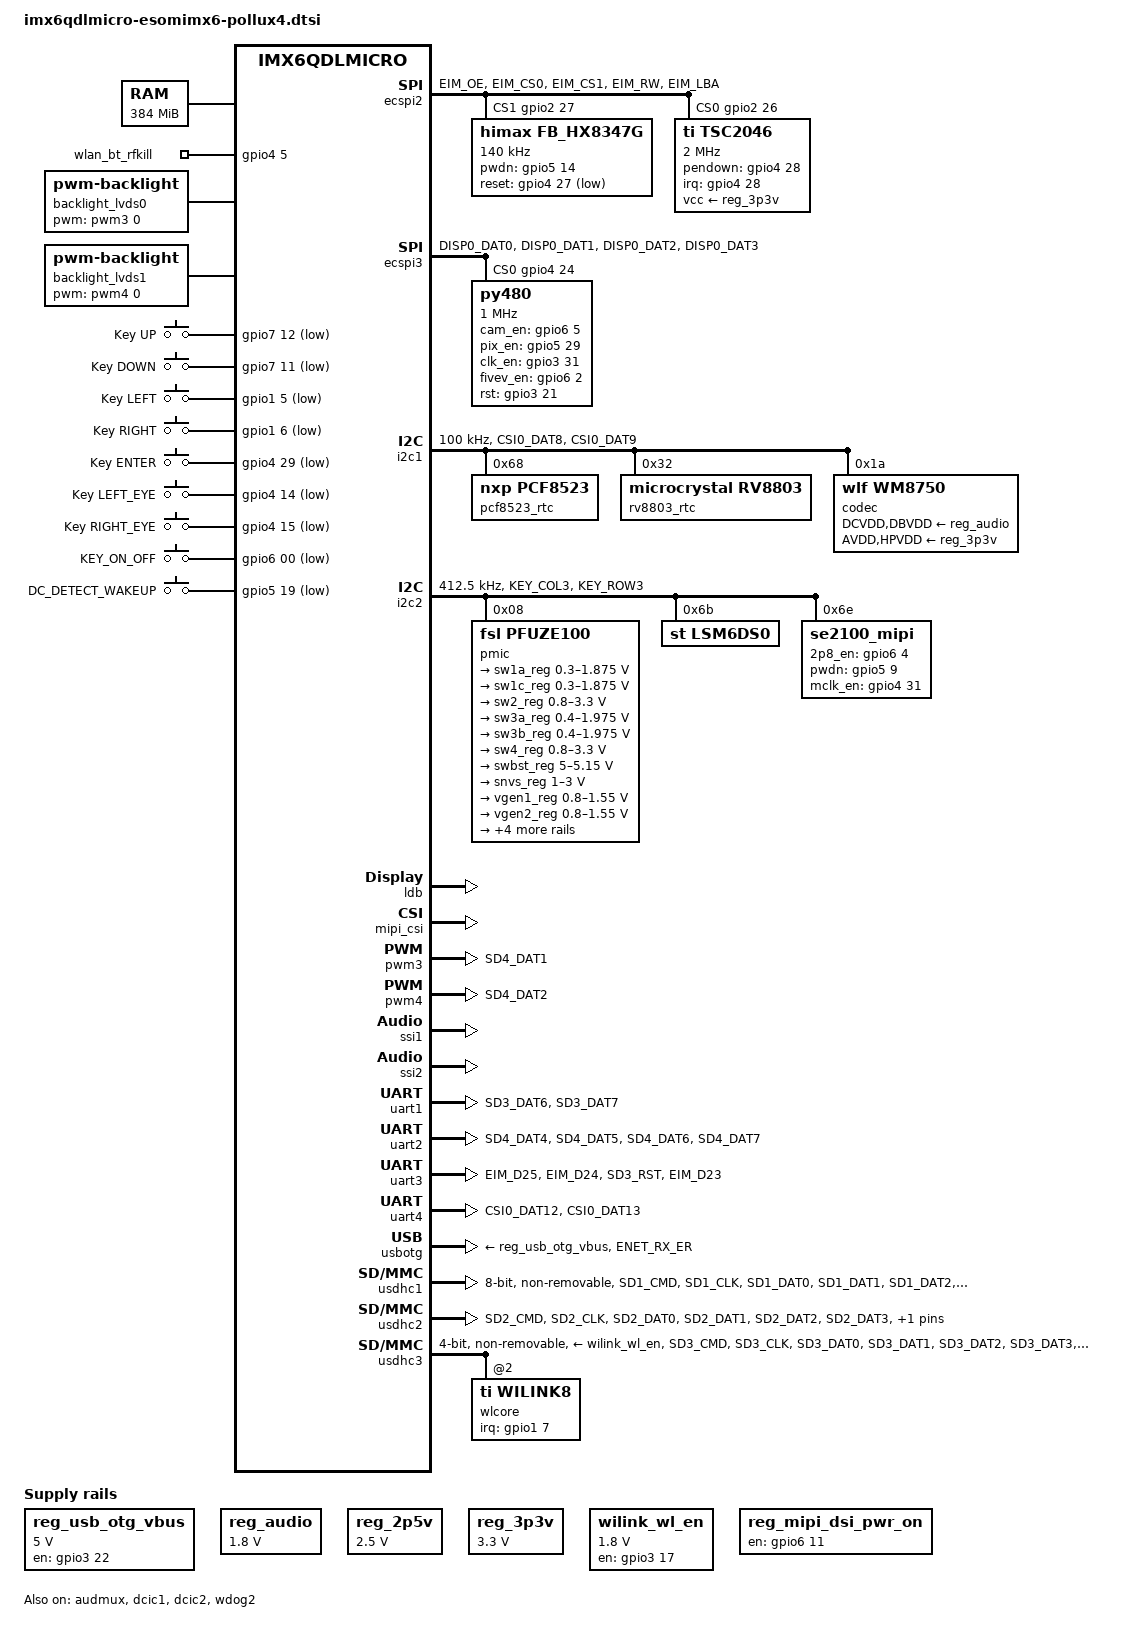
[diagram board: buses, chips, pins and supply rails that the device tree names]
/*
 * Copyright 2012 Freescale Semiconductor, Inc.
 * Copyright 2011 Linaro Ltd.
 *
 * The code contained herein is licensed under the GNU General Public
 * License. You may obtain a copy of the GNU General Public License
 * Version 2 or later at the following locations:
 *
 * http://www.opensource.org/licenses/gpl-license.html
 * http://www.gnu.org/copyleft/gpl.html
 */

#include <dt-bindings/gpio/gpio.h>
#include <dt-bindings/input/input.h>

/ {
	aliases {
		mxcfb0 = &mxcfb1;
		mxcfb1 = &mxcfb2;
		mxcfb2 = &mxcfb3;
		mxcfb3 = &mxcfb4;
	};

	hannstar_cabc {
		compatible = "hannstar,cabc";
		lvds0 {
			gpios = <&gpio6 15 GPIO_ACTIVE_HIGH>;
		};
		lvds1 {
			gpios = <&gpio6 16 GPIO_ACTIVE_HIGH>;
		};
	};

	chosen {
		stdout-path = &uart1;
	};
	memory {
		reg = <0x10000000 0x18000000 >;
	};

	regulators {
		compatible = "simple-bus";
		#address-cells = <1>;
		#size-cells = <0>;

		reg_usb_otg_vbus: regulator@0 {
			compatible = "regulator-fixed";
			reg = <0>;
			regulator-name = "usb_otg_vbus";
			regulator-min-microvolt = <5000000>;
			regulator-max-microvolt = <5000000>;
			gpio = <&gpio3 22 0>;
			enable-active-high;
		};

/*		reg_usb_h1_vbus: regulator@1 {
			compatible = "regulator-fixed";
			reg = <1>;
			regulator-name = "usb_h1_vbus";
			regulator-min-microvolt = <5000000>;
			regulator-max-microvolt = <5000000>;
			gpio = <&gpio3 31 0>;
			enable-active-high;
			vin-supply = <&swbst_reg>;
		};
*/
                reg_audio: 1p8v {
                        compatible = "regulator-fixed";
                        regulator-name = "1P8V";
                        regulator-min-microvolt = <1800000>;
                        regulator-max-microvolt = <1800000>;
                        regulator-always-on;
                };

		reg_2p5v: regulator@2 {
			compatible = "regulator-fixed";
			reg = <2>;
			regulator-name = "2P5V";
			regulator-min-microvolt = <2500000>;
			regulator-max-microvolt = <2500000>;
			regulator-always-on;
		};

	/*	reg_pcie: regulator@3 {
			compatible = "regulator-fixed";
			reg = <3>;
			pinctrl-names = "default";
			pinctrl-0 = <&pinctrl_pcie_reg>;
			regulator-name = "MPCIE_3V3";
			regulator-min-microvolt = <3300000>;
			regulator-max-microvolt = <3300000>;
			gpio = <&gpio4 26 0>;
			regulator-always-on;
			enable-active-high;
		};
	*/
		reg_3p3v: regulator@4 {
			compatible = "regulator-fixed";
			reg = <4>;
			regulator-name = "3P3V";
			regulator-min-microvolt = <3300000>;
			regulator-max-microvolt = <3300000>;
			regulator-always-on;
		};

		wilink_wl_en: regulator@5 {
			compatible = "regulator-fixed";
			reg = <5>;
			regulator-name = "wilink_wl_en";
			regulator-min-microvolt = <1800000>;
			regulator-max-microvolt = <1800000>;
			gpio = <&gpio3 17  0>; /* WIFI ENABLE GPIO */
			startup-delay-us = <70000>;
			output_high;
			enable-active-high;
		};

		reg_mipi_dsi_pwr_on: mipi_dsi_pwr_on {
			compatible = "regulator-fixed";
			regulator-name = "mipi_dsi_pwr_on";
			gpio = <&gpio6 11 0>;
			enable-active-high;
		};

	};

#if 0
	  bt_codec: bt-codec {
		compatible = "linux,bt-sco";
	  };

	  sound-bt {
	  	compatible = "fsl,imx-audio-btlsr";
	  	model = "fsl,imx-audio-btlsr";

	  	ssi-controller = <&ssi2>;
	  	bt-controller = <&bt_codec>;
	  	mux-int-port = <2>;
	  	mux-ext-port = <5>;
	  };


	sound-hdmi {
		compatible = "fsl,imx6q-audio-hdmi",
			     "fsl,imx-audio-hdmi";
		model = "imx-audio-hdmi";
		hdmi-controller = <&hdmi_audio>;
	};
#endif
	
#if 0
	wlan {
		compatible = "ti,wilink8";
		interrupt-parent = <&gpio1>;
		interrupts = <07 0x04>;
		clocks = <&refclock>;
		clock-names = "refclock";
		/* WiFi module enable GPIO; Required for proper fucntioning of WIFI down and up*/
		pwr-enable = <&gpio3 17 0>;

		refclock: refclock {
			compatible = "ti,wilink-clock";
			#clock-cells = <0>;
			clock-frequency = <38400000>;
		};
	};
#endif
	wlan_bt_rfkill {
		compatible = "net,rfkill-gpio";
		name = "wlan_bt_rfkill";
		type = <2>;     /* bluetooth */
		gpios = <&gpio4 5 0>; /* BT enable */
	};

	mxcfb1: fb@0 {
		compatible = "fsl,mxc_sdc_fb";
		disp_dev = "ldb";
		interface_pix_fmt = "RGB666";
		default_bpp = <16>;
		int_clk = <0>;
		late_init = <0>;
		status = "disabled";
	};

	mxcfb2: fb@1 {
		compatible = "fsl,mxc_sdc_fb";
		disp_dev = "hdmi";
		interface_pix_fmt = "RGB24";
		mode_str ="1920x1080M@60";
		default_bpp = <24>;
		int_clk = <0>;
		late_init = <0>;
		status = "disabled";
	};

	mxcfb3: fb@2 {
		compatible = "fsl,mxc_sdc_fb";
		disp_dev = "lcd";
		interface_pix_fmt = "RGB565";
		mode_str ="CLAA-WVGA";
		default_bpp = <16>;
		int_clk = <0>;
		late_init = <0>;
		status = "disabled";
	};

	mxcfb4: fb@3 {
		compatible = "fsl,mxc_sdc_fb";
		disp_dev = "mipi_dsi";
		interface_pix_fmt = "RGB24";
		mode_str ="AUO-320";
		default_bpp = <24>;
		int_clk = <0>;
		late_init = <0>;
		status = "disabled";
	};

#if 0
	mxcfb4: fb@3 {
		compatible = "fsl,mxc_sdc_fb";
		disp_dev = "ldb";
		interface_pix_fmt = "RGB666";
		default_bpp = <16>;
		int_clk = <0>;
		late_init = <0>;
		status = "disabled";
	};
#endif

#if 1
	backlight_lvds0 {
		compatible = "pwm-backlight";
		pwms = <&pwm3 0 5000000>;
		//brightness-levels = <0 63 95 127 159 191 223 255>;
		//default-brightness-level = <6>;
		brightness-levels = <0 2 5 7 10 12 15 17 20 22 25 28 30 33
				    35 38 40 43 45 48 51 53 56 58 61 63 66 
				    68 71 73 76 79 81 84 86 89 91 94 96 99 
				    102 104 107 109 112 114 117 119 122 124
				    127 130 132 135 137 140 142 145 147 150 
				    153 155 158 160 163 165 168 170 173 175 
				    178 181 183 186 188 191 193 196 198 201 
				    204 206 209 211 214 216 219 221 224 226 
				    229 232 234 237 239 242 244 247 249 252 255>;
		default-brightness-level = <90>;
	};
#endif

	backlight_lvds1 {
		compatible = "pwm-backlight";
		pwms = <&pwm4 0 366300>;
		brightness-levels = <0 2 5 7 10 12 15 17 20 22 25 28 30 33
				35 38 40 43 45 48 51 53 56 58 61 63 66
				68 71 73 76 79 81 84 86 89 91 94 96 99
				102 104 107 109 112 114 117 119 122 124
				127 130 132 135 137 140 142 145 147 150
				153 155 158 160 163 165 168 170 173 175
				178 181 183 186 188 191 193 196 198 201
				204 206 209 211 214 216 219 221 224 226
				229 232 234 237 239 242 244 247 249 252 255>;
		default-brightness-level = <0>;
	};

	v4l2_cap_0 {
		compatible = "fsl,imx6q-v4l2-capture";
		ipu_id = <0>;
		csi_id = <0>;
		mclk_source = <0>;
		status = "okay";
	};

	v4l2_cap_1 {
		compatible = "fsl,imx6q-v4l2-capture";
		ipu_id = <0>;
		csi_id = <1>;
		mclk_source = <0>;
		status = "disabled";
	};

	v4l2_out {
		compatible = "fsl,mxc_v4l2_output";
		status = "okay";
	};
/*
	mipi_dsi_reset: mipi-dsi-reset {
		compatible = "gpio-reset";
		reset-gpios = <&gpio2 27 GPIO_ACTIVE_LOW>;
		reset-delay-us = <50>;
		#reset-cells = <0>;
	};
*/
#if 1
	gpio-keys {
		compatible = "gpio-keys";
		#address-cells = <1>;
		#size-cells = <0>;
		pinctrl-names = "default";
		pinctrl-0 = <&pinctrl_keypad>;
		/*Removed autorepeat to enable long press of the keys without release event*/
		//autorepeat;
	
		key_up {
			label = "Key UP";
			linux,code = <30>;//'A'
			gpios = <&gpio7 12 1>;
			debounce-interval = <50>;
			// gpio-key,wakeup;
		};
		key_down {
			label = "Key DOWN";
			linux,code = <48>;//'B'
			gpios = <&gpio7 11 1>;
			debounce-interval = <50>;
			// gpio-key,wakeup;
		};
		key_left {
			label = "Key LEFT";
			linux,code = <46>;//'C'
			gpios = <&gpio1 5 1>;
			debounce-interval = <50>;
			// gpio-key,wakeup;
		};
		key_right {
			label = "Key RIGHT";
			linux,code = <32>;//'D'
			gpios = <&gpio1 6 1>;
			debounce-interval = <50>;
			// gpio-key,wakeup;
		};
		key_enter {
			label = "Key ENTER";
			linux,code = <18>;//'E'
			gpios = <&gpio4 29 1>;
			debounce-interval = <50>;
			// gpio-key,wakeup;
		};
		key_left_eye {
			label = "Key LEFT_EYE";
			linux,code = <38>;//'L'
			gpios = <&gpio4 14 1>;
			debounce-interval = <50>;
			// gpio-key,wakeup;
		};
		key_right_eye {
			label = "Key RIGHT_EYE";
			linux,code = <19>;//'R'
			gpios = <&gpio4 15 1>;
			debounce-interval = <50>;
			// gpio-key,wakeup;
		};
		key_on_off{
			label = "KEY_ON_OFF";
			linux,code = <24>;//'O'
			gpios = <&gpio6 00 1>;
			debounce-interval = <50>;
			// gpio-key,wakeup;
		};

		dc_detect_interrupt{
			label = "DC_DETECT_WAKEUP";
			gpios = <&gpio5 19 1>;
			linux,code = <50>;//'M'
			 gpio-key,wakeup;

		};
	};
#endif	
	sound {
                compatible = "fsl,imx6q-esomimx6-wm8750",
                              "fsl,imx-audio-wm8750";
		model = "wm8750-audio";
                ssi-controller = <&ssi1>;
                audio-codec = <&codec>;
                audio-routing =
                        "Ext Spk", "ROUT2",
                        "Ext Spk", "LOUT2";
                mux-int-port = <1>;
                mux-ext-port = <3>;
       };
};

&audmux {
	pinctrl-names = "default";
	pinctrl-0 = <&pinctrl_audmux>;
	status = "okay";
};

&cpu0 {
	arm-supply = <&sw1a_reg>;
	soc-supply = <&sw1c_reg>;
};

&clks {
	//fsl,ldb-di0-parent = <&clks IMX6QDL_CLK_PLL2_PFD0_352M>;
	fsl,ldb-di0-parent = <&clks IMX6QDL_CLK_PLL5_VIDEO_DIV>;
	//fsl,ldb-di1-parent = <&clks IMX6QDL_CLK_PLL2_PFD0_352M>;
	fsl,ldb-di1-parent = <&clks IMX6QDL_CLK_PLL5_VIDEO_DIV>;
};

#if 0
/* eSOMiMX6 does not have SPI NOR flash mounted */
&ecspi1 {
	fsl,spi-num-chipselects = <1>;
	cs-gpios = <&gpio3 19 0>;
	pinctrl-names = "default";
	pinctrl-0 = <&pinctrl_ecspi1>;
	status = "okay";

};
#endif

/* eSOMiMX6 supports two chip selects for ECSPI2; Since CSO is connected to SPI connector in ANKAA
   and CS1 is connected to GPIO header, properties has been defined as if only one chip select is
   supported */
&ecspi2 {
	fsl,spi-num-chipselects = <2>;
	cs-gpios = <&gpio2 26 0>,<&gpio2 27 0>;
	pinctrl-names = "default";
	pinctrl-0 = <&pinctrl_ecspi2>;
	status = "okay";
	
	/*himax hx8347 display*/
    	fb_hx8347g@1 {
		compatible = "himax,fb_hx8347g";
		reg = <1>;/* CS1 */
		spi-max-frequency = <140000>;
		pinctrl-names = "default";
  		pinctrl-0 = <&pinctrl_lcd>;
		buswidth = <16>;
                regwidth = <16>;
		//spi-cpol;
		//spi-cpha;
		pwdn-gpios = <&gpio5 14 0>;
		reset-gpios = <&gpio4 27 1>;
		status = "okay";
	};

	/* added for touchscreen on SPI2 */
      	tsc2046@0 {
        	compatible = "ti,tsc2046";
  		pinctrl-names = "default";
  		pinctrl-0 = <&pinctrl_touch>;
              	spi-max-frequency = <2000000>;//1500000
		vcc-supply = <&reg_3p3v>; 
		
            	reg = <0>; /* CS0 */
		interrupt-parent = <&gpio4>;
		interrupts = <28 IRQ_TYPE_LEVEL_HIGH>;
	        pendown-gpio = <&gpio4 28 0>;
		//ti,keep-vref-on;//without working
		/* driver defaults */
#if 1
		ti,x-min = /bits/ 16 <0>;
		ti,y-min = /bits/ 16 <0>;
		ti,x-max = /bits/ 16 <4095>;
		ti,y-max = /bits/ 16 <3930>;
		//ti,vref-delay-usecs = /bits/ 16 <100>;
		ti,pressure-min = /bits/ 16 <0>;
		ti,pressure-max = /bits/ 16 <65535>;
		ti,x-plate-ohms = /bits/ 16 <400>;
		ti,debounce-max = /bits/ 16 <30>;//2
		ti,debounce-tol = /bits/ 16 <10>;//4 
		ti,debounce-rep = /bits/ 16 <1>;  

#endif

#if 0
		ti,x-min = /bits/ 16 <50>;
		ti,x-max = /bits/ 16 <3830>;
		ti,y-min = /bits/ 16 <90>;
		ti,y-max = /bits/ 16 <3930>;
		ti,vref-delay-usecs = /bits/ 16 <450>;
		ti,x-plate-ohms = /bits/ 16 <450>;
		ti,y-plate-ohms = /bits/ 16 <250>;
		ti,pressure-max = /bits/ 16 <15000>;
	//	ti,debounce-rep = /bits/ 16 <0>;
	//	ti,debounce-tol = /bits/ 16 <65535>;
	//	ti,debounce-max = /bits/ 16 <1>;
		ti,debounce-max = /bits/ 16 <30>;
		ti,debounce-tol = /bits/ 16 <10>; 
		ti,debounce-rep = /bits/ 16 <1>;  

#endif

		//linux,wakeup;
		ti,swap-xy;
		
		status = "okay";

    	};	
};

#if 1
&ecspi3 {
	fsl,spi-num-chipselects = <1>;
	cs-gpios = <&gpio4 24 0>;
	pinctrl-names = "default";
	pinctrl-0 = <&pinctrl_ecspi3>;
	status = "okay";
	
	/*python 480 parallel camera*/
	py480: py480@0 {
		compatible = "py480";
		reg = <0>;
		spi-max-frequency = <1000000>;
		pinctrl-names = "default";
		pinctrl-0 = <&pinctrl_py480_csi1>;
		clocks = <&clks 201>;
		clock-names = "csi_mclk";
		cam_en-gpios = <&gpio6 5 0>;
		pix_en-gpios = <&gpio5 29 0>;
		clk_en-gpios = <&gpio3 31 0>;
		fivev_en-gpios = <&gpio6 2 0>;
		buswidth = <26>;
                regwidth = <16>;
		rst-gpios = <&gpio3 21 0>;
		ipu_id = <1>;
		csi_id = <1>;
		mclk = <68000000>;
		mclk_source = <0>;
		status = "okay";
	};
	
};
#endif

&fec {
	pinctrl-names = "default";
	pinctrl-0 = <&pinctrl_enet>;
	phy-mode = "rgmii";
	phy-reset-gpios = <&gpio1 27 0>;
	fsl,magic-packet;
	status = "disabled";
};

/* In ANKAA, CAN1 signals are connected to GPIO header */
#if 0
&can1 {
	pinctrl-names = "default";
	pinctrl-0 = <&pinctrl_can1>;
	status = "okay";
};
#endif

#if 0
&can2 {
	pinctrl-names = "default";
	pinctrl-0 = <&pinctrl_can2>;
	status = "okay";
};
#endif

&gpc {
	fsl,ldo-bypass = <1>;
	fsl,wdog-reset = <2>;
};

&dcic1 {
	dcic_id = <0>;
	dcic_mux = "dcic-hdmi";
	status = "okay";
};

&dcic2 {
	dcic_id = <1>;
	dcic_mux = "dcic-lvds1";
	status = "okay";
};

&hdmi_audio {
	status = "disabled";
};

&hdmi_cec {
	pinctrl-names = "default";
	pinctrl-0 = <&pinctrl_hdmi_cec>;
	status = "disabled";
};

&hdmi_core {
	ipu_id = <0>;
	disp_id = <0>;
	status = "disabled";
};

&hdmi_video {
	fsl,phy_reg_vlev = <0x0294>;
	fsl,phy_reg_cksymtx = <0x800d>;
	status = "disabled";
};

&i2c1 {
	clock-frequency = <100000>;
	pinctrl-names = "default";
	pinctrl-0 = <&pinctrl_i2c1>;
	status = "okay";
	
	pcf8523_rtc@68 {
		compatible = "nxp,pcf8523";
		reg = <0x68>;
		//wakeup-source;
		status = "okay";
	};

	// RTC for Rev-B boards
	rv8803_rtc@32 {
		compatible = "microcrystal,rv8803";
		reg = <0x32>;
		status = "okay";
	};

	codec: wm8750@1a {
		compatible = "wlf,wm8750";
                reg = <0x1a>;
                clocks = <&clks 201>;
                DCVDD-supply = <&reg_audio>;
                DBVDD-supply = <&reg_audio>;
                AVDD-supply = <&reg_3p3v>;
                HPVDD-supply = <&reg_3p3v>;
		status = "okay";
	};
};

&i2c2 {
	clock-frequency = <412500>;
	pinctrl-names = "default";
	pinctrl-0 = <&pinctrl_i2c2>;
	status = "okay";

	

	pmic: pfuze100@08 {
		compatible = "fsl,pfuze100";
		reg = <0x08>;

		regulators {
			sw1a_reg: sw1ab {
				regulator-min-microvolt = <300000>;
				regulator-max-microvolt = <1875000>;
				regulator-boot-on;
				regulator-always-on;
				regulator-ramp-delay = <6250>;
			};

			sw1c_reg: sw1c {
				regulator-min-microvolt = <300000>;
				regulator-max-microvolt = <1875000>;
				regulator-boot-on;
				regulator-always-on;
				regulator-ramp-delay = <6250>;
			};

			sw2_reg: sw2 {
				regulator-min-microvolt = <800000>;
				regulator-max-microvolt = <3300000>;
				regulator-boot-on;
				regulator-always-on;
			};

			sw3a_reg: sw3a {
				regulator-min-microvolt = <400000>;
				regulator-max-microvolt = <1975000>;
				regulator-boot-on;
				regulator-always-on;
			};

			sw3b_reg: sw3b {
				regulator-min-microvolt = <400000>;
				regulator-max-microvolt = <1975000>;
				regulator-boot-on;
				regulator-always-on;
			};

			sw4_reg: sw4 {
				regulator-min-microvolt = <800000>;
				regulator-max-microvolt = <3300000>;
                                regulator-boot-on;
                                regulator-always-on;
			};

			swbst_reg: swbst {
				regulator-min-microvolt = <5000000>;
				regulator-max-microvolt = <5150000>;
			};

			snvs_reg: vsnvs {
				regulator-min-microvolt = <1000000>;
				regulator-max-microvolt = <3000000>;
				regulator-boot-on;
				regulator-always-on;
			};

			vref_reg: vrefddr {
				regulator-boot-on;
				regulator-always-on;
			};

			vgen1_reg: vgen1 {
				regulator-min-microvolt = <800000>;
				regulator-max-microvolt = <1550000>;
			};

			vgen2_reg: vgen2 {
				regulator-min-microvolt = <800000>;
				regulator-max-microvolt = <1550000>;
			};

			vgen3_reg: vgen3 {
				regulator-min-microvolt = <2500000>;
				regulator-max-microvolt = <2500000>;
				regulator-boot-on;
				regulator-always-on;
			};

			vgen4_reg: vgen4 {
				regulator-min-microvolt = <1800000>;
				regulator-max-microvolt = <1800000>;
				regulator-boot-on;
				regulator-always-on;
			};

			vgen5_reg: vgen5 {
                               regulator-min-microvolt = <2500000>;
                               regulator-max-microvolt = <2500000>;
                               regulator-boot-on;
                               regulator-always-on;
			};

			vgen6_reg: vgen6 {
				regulator-min-microvolt = <1800000>;
				regulator-max-microvolt = <3300000>;
                                regulator-boot-on;
                                regulator-always-on;
			};
		};
	};

	lsm6ds0@0x6B {
		compatible = "st,lsm6ds0";
		reg = <0x6B>;
		rot-matrix = /bits/ 16 <(1) (0) (0)
					(0) (1) (0)
					(0) (0) (1)>;
		g-poll-interval = <100>;
		g-min-interval = <2>;
		g-fs-range = <0>;
		x-poll-interval = <100>;
		x-min-interval = <1>;
		x-fs-range = <0>;
		aa-filter-bw = <0>;
	};

	se2100_mipi: se2100_mipi@6E {
                compatible = "se2100_mipi";
		reg = <0x6E>;
                clocks = <&clks 201>;
                clock-names = "csi_mclk";
		pinctrl-names ="default";
		pinctrl-0 =<&pinctrl_barcode>;
		2p8_en-gpios = <&gpio6 4 0>;
		pwdn-gpios = <&gpio5 9 0>;
		mclk_en-gpios= <&gpio4 31 0>;
                ipu_id = <0>;
                csi_id = <0>;
                vc = <0>;
                mclk = <24000000>;
                mclk_source = <0>;
                status="okay";
        };
};

#if 0
&i2c3 {
	clock-frequency = <100000>;
	pinctrl-names = "default";
	pinctrl-0 = <&pinctrl_i2c3>;
	status = "okay";

	hdmi: edid@50 {
		compatible = "fsl,imx6-hdmi-i2c";
		reg = <0x50>;
	};


};
#endif

&iomuxc {
	pinctrl-names = "default";
	pinctrl-0 = <&pinctrl_hog>;

	imx6qdl-sabresd {
		pinctrl_hog: hoggrp {
			fsl,pins = <
				MX6QDL_PAD_GPIO_0__CCM_CLKO1 0x80000000 /* Audio codec clock */
				MX6QDL_PAD_GPIO_8__XTALOSC_REF_CLK_32K 0x0001B0B0 /* WiFi clock */
				MX6QDL_PAD_NANDF_CS3__GPIO6_IO16 0x80000000 /* eMMC nRST; Not yet used */
				MX6QDL_PAD_EIM_D26__GPIO3_IO26 0x80000000 /* emergency shutdown */
				MX6QDL_PAD_ENET_RXD0__GPIO1_IO27 0x80000000 /* RGMII nRST; Not yet used */
				MX6QDL_PAD_ENET_TXD1__GPIO1_IO29 0x80000000 /* Indication LED2 */
				MX6QDL_PAD_EIM_D29__GPIO3_IO29 0x80000000 /* BT_MOD_WU, need to know the purpose */
				/* GPIO header in ANKAA board */
				/* MIPI DSI lines are not clocked since they cannot be multiplexed */
				/* I2C3 lines are not muxed here as GPIO header since they are connected to HDMI display */
				MX6QDL_PAD_GPIO_9__GPIO1_IO09 0x80000000
				MX6QDL_PAD_GPIO_1__GPIO1_IO01 0x80000000
			//	MX6QDL_PAD_EIM_LBA__GPIO2_IO27 0x80000000
				MX6QDL_PAD_DISP0_DAT22__GPIO5_IO16 0x80000000
				MX6QDL_PAD_DI0_DISP_CLK__GPIO4_IO16 0x80000000 /* Need to know if this will work? */
				MX6QDL_PAD_DISP0_DAT9__GPIO4_IO30 0x80000000
				MX6QDL_PAD_DISP0_DAT23__GPIO5_IO17 0x80000000
				MX6QDL_PAD_EIM_D20__GPIO3_IO20 0x80000000
				MX6QDL_PAD_SD4_CLK__GPIO7_IO10 0x80000000
				MX6QDL_PAD_SD4_CMD__GPIO7_IO09 0x80000000
				MX6QDL_PAD_SD4_DAT0__GPIO2_IO08 0x80000000
				MX6QDL_PAD_SD4_DAT3__GPIO2_IO11 0x80000000
				MX6QDL_PAD_EIM_DA14__GPIO3_IO14 0x80000000
				MX6QDL_PAD_EIM_DA15__EIM_AD15 0x80000000
				MX6QDL_PAD_DI0_PIN4__GPIO4_IO20 0x80000000
				MX6QDL_PAD_DISP0_DAT18__GPIO5_IO12 0x80000000
				MX6QDL_PAD_DI0_PIN2__GPIO4_IO18 0x80000000
				MX6QDL_PAD_DI0_PIN3__GPIO4_IO19 0x80000000
				MX6QDL_PAD_DI0_PIN15__GPIO4_IO17 0x80000000
				MX6QDL_PAD_KEY_ROW2__GPIO4_IO11 0x80000000
				MX6QDL_PAD_KEY_COL2__GPIO4_IO10 0x80000000
				//MX6QDL_PAD_GPIO_16__GPIO7_IO11 0x80000000
				//MX6QDL_PAD_GPIO_17__GPIO7_IO12 0x80000000
				MX6QDL_PAD_EIM_DA13__GPIO3_IO13 0x80000000
				/* End of GPIO headers */

			>;
		};

		pinctrl_audmux: audmuxgrp {
			fsl,pins = <
				MX6QDL_PAD_CSI0_DAT7__AUD3_RXD		0x130b0
				MX6QDL_PAD_CSI0_DAT4__AUD3_TXC		0x130b0
				MX6QDL_PAD_CSI0_DAT5__AUD3_TXD		0x110b0
				MX6QDL_PAD_CSI0_DAT6__AUD3_TXFS		0x130b0
			//	MX6QDL_PAD_EIM_DA3__GPIO3_IO03    0x0001B0B0
				/*Pin mux for BT Codec*/
				MX6QDL_PAD_KEY_COL0__AUD5_TXC     0x130b0
				MX6QDL_PAD_KEY_COL1__AUD5_TXFS    0x130b0
				MX6QDL_PAD_KEY_ROW0__AUD5_TXD     0x130b0
				MX6QDL_PAD_KEY_ROW1__AUD5_RXD     0x130b0
			>;
		};

		pinctrl_wdog1: wdog {
			fsl,pins = <
			//	MX6QDL_PAD_EIM_DA5__GPIO3_IO05          0x0001B0B0
			>;
		};

		pinctrl_ecspi1: ecspi1grp {
			fsl,pins = <
				MX6QDL_PAD_EIM_D17__ECSPI1_MISO		0x100b1
				MX6QDL_PAD_EIM_D18__ECSPI1_MOSI		0x100b1
				MX6QDL_PAD_EIM_D16__ECSPI1_SCLK		0x100b1
			>;
		};

		pinctrl_ecspi2: ecspi2grp {
			fsl,pins = <
				MX6QDL_PAD_EIM_OE__ECSPI2_MISO		0x100b1
				MX6QDL_PAD_EIM_CS0__ECSPI2_SCLK		0x100b1
				MX6QDL_PAD_EIM_CS1__ECSPI2_MOSI		0x100b1
				MX6QDL_PAD_EIM_RW__GPIO2_IO26           0x000b1
				MX6QDL_PAD_EIM_LBA__GPIO2_IO27           0x000b1
			>;
		};

		pinctrl_ecspi3: ecspi3grp {
			fsl,pins = <
				MX6QDL_PAD_DISP0_DAT0__ECSPI3_SCLK 	0x100b1
				MX6QDL_PAD_DISP0_DAT1__ECSPI3_MOSI 	0x100b1
				MX6QDL_PAD_DISP0_DAT2__ECSPI3_MISO 	0x100b1
				MX6QDL_PAD_DISP0_DAT3__GPIO4_IO24	0x100b1
			>;
		};

		pinctrl_can1: can1grp {
			fsl,pins = <
				MX6QDL_PAD_KEY_ROW2__FLEXCAN1_RX	0x80000000
				MX6QDL_PAD_KEY_COL2__FLEXCAN1_TX	0x80000000
			>;
		};

		pinctrl_can2: can2grp {
			fsl,pins = <
				MX6QDL_PAD_KEY_COL4__FLEXCAN2_TX   	0x80000000
				MX6QDL_PAD_KEY_ROW4__FLEXCAN2_RX 	0x80000000
 			>;
 		};


		pinctrl_i2c2_egalax_int: egalax_i2c2_intgrp {
			fsl,pins = <
				MX6QDL_PAD_NANDF_ALE__GPIO6_IO08 0x80000000
			>;
		};

		pinctrl_i2c3_egalax_int: egalax_i2c3_intgrp {
			fsl,pins = <
				MX6QDL_PAD_NANDF_CLE__GPIO6_IO07 0x80000000
			>;
		};

		pinctrl_enet: enetgrp {
			fsl,pins = <
				MX6QDL_PAD_ENET_MDIO__ENET_MDIO		0x1b0b0
				MX6QDL_PAD_ENET_MDC__ENET_MDC		0x1b0b0
				MX6QDL_PAD_RGMII_TXC__RGMII_TXC		0x1b0b0
				MX6QDL_PAD_RGMII_TD0__RGMII_TD0		0x1b0b0
				MX6QDL_PAD_RGMII_TD1__RGMII_TD1		0x1b0b0
				MX6QDL_PAD_RGMII_TD2__RGMII_TD2		0x1b0b0
				MX6QDL_PAD_RGMII_TD3__RGMII_TD3		0x1b0b0
				MX6QDL_PAD_RGMII_TX_CTL__RGMII_TX_CTL	0x1b0b0
				MX6QDL_PAD_ENET_REF_CLK__ENET_TX_CLK	0x1b0b0
				MX6QDL_PAD_RGMII_RXC__RGMII_RXC		0x1b0b0
				MX6QDL_PAD_RGMII_RD0__RGMII_RD0		0x1b0b0
				MX6QDL_PAD_RGMII_RD1__RGMII_RD1		0x1b0b0
				MX6QDL_PAD_RGMII_RD2__RGMII_RD2		0x1b0b0
				MX6QDL_PAD_RGMII_RD3__RGMII_RD3		0x1b0b0
				MX6QDL_PAD_RGMII_RX_CTL__RGMII_RX_CTL	0x1b0b0
				MX6QDL_PAD_GPIO_16__ENET_REF_CLK	0x4001b0a8
			>;
		};

		pinctrl_hdmi_cec: hdmicecgrp {
			fsl,pins = <
				MX6QDL_PAD_KEY_ROW2__HDMI_TX_CEC_LINE 0x1f8b0
			>;
		};

		pinctrl_hdmi_hdcp: hdmihdcpgrp {
			fsl,pins = <
				MX6QDL_PAD_KEY_COL3__HDMI_TX_DDC_SCL 0x4001b8b1
				MX6QDL_PAD_KEY_ROW3__HDMI_TX_DDC_SDA 0x4001b8b1
			>;
		};

		pinctrl_i2c1: i2c1grp {
			fsl,pins = <
				MX6QDL_PAD_CSI0_DAT8__I2C1_SDA		0x4001b8b1
				MX6QDL_PAD_CSI0_DAT9__I2C1_SCL		0x4001b8b1
			>;
		};

		pinctrl_i2c2: i2c2grp {
			fsl,pins = <
				MX6QDL_PAD_KEY_COL3__I2C2_SCL		0x4001b8b1
				MX6QDL_PAD_KEY_ROW3__I2C2_SDA		0x4001b8b1
			 >;
		};

		pinctrl_i2c3: i2c3grp {
			fsl,pins = <
				MX6QDL_PAD_GPIO_5__I2C3_SCL  		0x4001b8b1
				MX6QDL_PAD_GPIO_6__I2C3_SDA		0x4001b8b1
			>;
		};

		pinctrl_ipu1: ipu1grp {
			fsl,pins = <
				MX6QDL_PAD_DI0_DISP_CLK__IPU1_DI0_DISP_CLK 0x10
				MX6QDL_PAD_DI0_PIN15__IPU1_DI0_PIN15       0x10
				MX6QDL_PAD_DI0_PIN2__IPU1_DI0_PIN02        0x10
				MX6QDL_PAD_DI0_PIN3__IPU1_DI0_PIN03        0x10
				MX6QDL_PAD_DI0_PIN4__IPU1_DI0_PIN04        0x80000000
				MX6QDL_PAD_DISP0_DAT0__IPU1_DISP0_DATA00   0x10
				MX6QDL_PAD_DISP0_DAT1__IPU1_DISP0_DATA01   0x10
				MX6QDL_PAD_DISP0_DAT2__IPU1_DISP0_DATA02   0x10
				MX6QDL_PAD_DISP0_DAT3__IPU1_DISP0_DATA03   0x10
				MX6QDL_PAD_DISP0_DAT4__IPU1_DISP0_DATA04   0x10
				MX6QDL_PAD_DISP0_DAT5__IPU1_DISP0_DATA05   0x10
				MX6QDL_PAD_DISP0_DAT6__IPU1_DISP0_DATA06   0x10
				MX6QDL_PAD_DISP0_DAT7__IPU1_DISP0_DATA07   0x10
				MX6QDL_PAD_DISP0_DAT8__IPU1_DISP0_DATA08   0x10
				MX6QDL_PAD_DISP0_DAT9__IPU1_DISP0_DATA09   0x10
				MX6QDL_PAD_DISP0_DAT10__IPU1_DISP0_DATA10  0x10
				MX6QDL_PAD_DISP0_DAT11__IPU1_DISP0_DATA11  0x10
				MX6QDL_PAD_DISP0_DAT12__IPU1_DISP0_DATA12  0x10
				MX6QDL_PAD_DISP0_DAT13__IPU1_DISP0_DATA13  0x10
				MX6QDL_PAD_DISP0_DAT14__IPU1_DISP0_DATA14  0x10
				MX6QDL_PAD_DISP0_DAT15__IPU1_DISP0_DATA15  0x10
				MX6QDL_PAD_DISP0_DAT16__IPU1_DISP0_DATA16  0x10
				MX6QDL_PAD_DISP0_DAT18__IPU1_DISP0_DATA18  0x10
				MX6QDL_PAD_DISP0_DAT19__IPU1_DISP0_DATA19  0x10
				MX6QDL_PAD_DISP0_DAT20__IPU1_DISP0_DATA20  0x10
				MX6QDL_PAD_DISP0_DAT21__IPU1_DISP0_DATA21  0x10
				MX6QDL_PAD_DISP0_DAT22__IPU1_DISP0_DATA22  0x10
				MX6QDL_PAD_DISP0_DAT23__IPU1_DISP0_DATA23  0x10
			>;
		};

		pinctrl_ipu1_2: ipu1grp-2 { /* parallel camera */
			fsl,pins = <
                              //  MX6QDL_PAD_EIM_DA4__GPIO3_IO04             0x0001B0B0 /*CAM1_STROBE*/
				MX6QDL_PAD_CSI0_DAT10__IPU1_CSI0_DATA10    0x0001B0B0
				MX6QDL_PAD_CSI0_DAT11__IPU1_CSI0_DATA11    0x0001B0B0
				MX6QDL_PAD_CSI0_DAT12__IPU1_CSI0_DATA12    0x0001B0B0
				MX6QDL_PAD_CSI0_DAT13__IPU1_CSI0_DATA13    0x0001B0B0
				MX6QDL_PAD_CSI0_DAT14__IPU1_CSI0_DATA14    0x0001B0B0
				MX6QDL_PAD_CSI0_DAT15__IPU1_CSI0_DATA15    0x0001B0B0
				MX6QDL_PAD_CSI0_DAT16__IPU1_CSI0_DATA16    0x0001B0B0
				MX6QDL_PAD_CSI0_DAT17__IPU1_CSI0_DATA17    0x0001B0B0
				MX6QDL_PAD_CSI0_DAT18__IPU1_CSI0_DATA18    0x0001B0B0
				MX6QDL_PAD_CSI0_DAT19__IPU1_CSI0_DATA19    0x0001B0B0
				MX6QDL_PAD_CSI0_DATA_EN__IPU1_CSI0_DATA_EN 0x0001B0B0
				MX6QDL_PAD_CSI0_PIXCLK__IPU1_CSI0_PIXCLK   0x0001B0B0
				MX6QDL_PAD_CSI0_MCLK__IPU1_CSI0_HSYNC      0x0001B0B0
				MX6QDL_PAD_CSI0_VSYNC__IPU1_CSI0_VSYNC     0x0001B0B0
			>;
		};

		    pinctrl_py480_csi1: py480_csi1 { /* parallel camera 1*/  
			      fsl,pins = <

				   MX6QDL_PAD_EIM_D21__GPIO3_IO21          0x0001B0B0  /*rst-pins*/
				   MX6QDL_PAD_EIM_D31__GPIO3_IO31	   0x0001B0B0  /*clk_en-gpios*/
                                   MX6QDL_PAD_CSI0_DAT19__GPIO6_IO05       0x0001B0B0  /*cam_en-gpios regulator*/
                                   MX6QDL_PAD_CSI0_DAT11__GPIO5_IO29       0x0001B0B0  /*pix_en-gpios*/				
							     
				   MX6QDL_PAD_EIM_A16__IPU2_CSI1_PIXCLK    0x0001B0B0  
				   MX6QDL_PAD_EIM_DA11__IPU2_CSI1_HSYNC    0x0001B0B0 
				   MX6QDL_PAD_EIM_DA12__IPU2_CSI1_VSYNC    0x0001B0B0  
			         //  MX6QDL_PAD_EIM_DA10__IPU2_CSI1_DATA_EN  0x0001B0B0 

				   MX6QDL_PAD_EIM_A24__IPU2_CSI1_DATA19    0x0001B0B0  
				   MX6QDL_PAD_EIM_A23__IPU2_CSI1_DATA18    0x0001B0B0 
				   MX6QDL_PAD_EIM_A22__IPU2_CSI1_DATA17    0x0001B0B0 
				   MX6QDL_PAD_EIM_A21__IPU2_CSI1_DATA16    0x0001B0B0  
				   MX6QDL_PAD_EIM_A20__IPU2_CSI1_DATA15    0x0001B0B0  
				   MX6QDL_PAD_EIM_A19__IPU2_CSI1_DATA14    0x0001B0B0 
				   MX6QDL_PAD_EIM_A18__IPU2_CSI1_DATA13    0x0001B0B0 
				   MX6QDL_PAD_EIM_A17__IPU2_CSI1_DATA12    0x0001B0B0 
				   MX6QDL_PAD_EIM_EB0__IPU2_CSI1_DATA11    0x0001B0B0
				   MX6QDL_PAD_EIM_EB1__IPU2_CSI1_DATA10    0x0001B0B0
					 
				   MX6QDL_PAD_EIM_DA0__IPU2_CSI1_DATA09    0x0001B0B0
				   MX6QDL_PAD_EIM_DA1__IPU2_CSI1_DATA08    0x0001B0B0 
				   MX6QDL_PAD_EIM_DA2__IPU2_CSI1_DATA07    0x0001B0B0 
				   MX6QDL_PAD_EIM_DA3__IPU2_CSI1_DATA06    0x0001B0B0  
				   MX6QDL_PAD_EIM_DA4__IPU2_CSI1_DATA05    0x0001B0B0 
				   MX6QDL_PAD_EIM_DA5__IPU2_CSI1_DATA04    0x0001B0B0
					
			      >;  
			    }; 
 
		/*touchscreen tsc2046*/
		pinctrl_touch: touchgrp {
			fsl,pins = <
				MX6QDL_PAD_DISP0_DAT7__GPIO4_IO28	0x1b0b0 // IRQ 
			>;
		};


		pinctrl_keypad: keypad {//keypad 7gpios
			fsl,pins = <

				MX6QDL_PAD_GPIO_17__GPIO7_IO12		0x1b0b0
				MX6QDL_PAD_GPIO_16__GPIO7_IO11		0x1b0b0
				MX6QDL_PAD_GPIO_5__GPIO1_IO05		0x1b0b0
				MX6QDL_PAD_GPIO_6__GPIO1_IO06		0x1b0b0
				MX6QDL_PAD_DISP0_DAT8__GPIO4_IO29	0x1b0b0
				MX6QDL_PAD_KEY_ROW4__GPIO4_IO15		0x1b0b0
				MX6QDL_PAD_KEY_COL4__GPIO4_IO14		0x1b0b0
				MX6QDL_PAD_CSI0_MCLK__GPIO5_IO19	0x1b0b0 
			>;
		};
	
		pinctrl_lcd: lcdgrp {
			fsl,pins = <
				MX6QDL_PAD_DISP0_DAT6__GPIO4_IO27	0x1b0b0
				MX6QDL_PAD_DISP0_DAT20__GPIO5_IO14	0x1b0b0
			>;
		};

		pinctrl_barcode: bargrp{
			fsl,pins = <
				MX6QDL_PAD_CSI0_DAT18__GPIO6_IO04       0x1b0b0
				MX6QDL_PAD_DISP0_DAT15__GPIO5_IO09      0x1b0b0
				MX6QDL_PAD_DISP0_DAT10__GPIO4_IO31      0x1b0b0
			>;
		};
		pinctrl_pwm3: pwm3grp {
			fsl,pins = <
				MX6QDL_PAD_SD4_DAT1__PWM3_OUT		0x1b0b1
			>;
		};

		pinctrl_pwm4: pwm4grp {
			fsl,pins = <
				MX6QDL_PAD_SD4_DAT2__PWM4_OUT		0x1b0b1
			>;
		};

		pinctrl_uart1: uart1grp {
			fsl,pins = <
				MX6QDL_PAD_SD3_DAT6__UART1_RX_DATA	0x1b0b1
				MX6QDL_PAD_SD3_DAT7__UART1_TX_DATA	0x1b0b1
			>;
		};

		pinctrl_uart2: uart2grp {
			fsl,pins = <
				MX6QDL_PAD_SD4_DAT4__UART2_RX_DATA	0x1b0b1
				MX6QDL_PAD_SD4_DAT5__UART2_RTS_B	0x1b0b1
				MX6QDL_PAD_SD4_DAT6__UART2_CTS_B	0x1b0b1
				MX6QDL_PAD_SD4_DAT7__UART2_TX_DATA	0x1b0b1
			>;
		};
		pinctrl_uart3: uart3grp {
			fsl,pins = <
				MX6QDL_PAD_EIM_D25__UART3_RX_DATA	0x1b0b1
				MX6QDL_PAD_EIM_D24__UART3_TX_DATA	0x1b0b1
				MX6QDL_PAD_SD3_RST__UART3_RTS_B		0x1b0b1
				MX6QDL_PAD_EIM_D23__UART3_CTS_B		0x1b0b1
			>;
		};
		pinctrl_uart4: uart4grp {
			fsl,pins = <
				MX6QDL_PAD_CSI0_DAT12__UART4_TX_DATA	0x1b0b1
				MX6QDL_PAD_CSI0_DAT13__UART4_RX_DATA	0x1b0b1
			>;
		};
		pinctrl_usbotg: usbotggrp {
			fsl,pins = <
				MX6QDL_PAD_ENET_RX_ER__USB_OTG_ID	0x17059
			>;
		};

		pinctrl_usdhc1: usdhc1grp {
			fsl,pins = <
				MX6QDL_PAD_SD1_CMD__SD1_CMD		0x17071
				MX6QDL_PAD_SD1_CLK__SD1_CLK		0x10071
				MX6QDL_PAD_SD1_DAT0__SD1_DATA0		0x17071
				MX6QDL_PAD_SD1_DAT1__SD1_DATA1		0x17071
				MX6QDL_PAD_SD1_DAT2__SD1_DATA2		0x17071
				MX6QDL_PAD_SD1_DAT3__SD1_DATA3		0x17071
				MX6QDL_PAD_NANDF_D0__SD1_DATA4		0x17071
				MX6QDL_PAD_NANDF_D1__SD1_DATA5		0x17071
				MX6QDL_PAD_NANDF_D2__SD1_DATA6		0x17071
				MX6QDL_PAD_NANDF_D3__SD1_DATA7		0x17071
			>;
		};

		pinctrl_usdhc2: usdhc2grp {
			fsl,pins = <
				MX6QDL_PAD_SD2_CMD__SD2_CMD		0x17059
				MX6QDL_PAD_SD2_CLK__SD2_CLK		0x10059
				MX6QDL_PAD_SD2_DAT0__SD2_DATA0		0x17059
				MX6QDL_PAD_SD2_DAT1__SD2_DATA1		0x17059
				MX6QDL_PAD_SD2_DAT2__SD2_DATA2		0x17059
				MX6QDL_PAD_SD2_DAT3__SD2_DATA3		0x17059
			>;
		};

		pinctrl_usdhc3: usdhc3grp {
			fsl,pins = <
				MX6QDL_PAD_SD3_CMD__SD3_CMD		0x1F059
				MX6QDL_PAD_SD3_CLK__SD3_CLK		0x1F059
				MX6QDL_PAD_SD3_DAT0__SD3_DATA0		0x1F059
				MX6QDL_PAD_SD3_DAT1__SD3_DATA1		0x1F059
				MX6QDL_PAD_SD3_DAT2__SD3_DATA2		0x1F059
				MX6QDL_PAD_SD3_DAT3__SD3_DATA3		0x1F059
				MX6QDL_PAD_EIM_D17__GPIO3_IO17          0x1F088
			>;
		};

	};

	gpio_leds {
		pinctrl_gpio_leds: gpioledsgrp {
			fsl,pins = <
				MX6QDL_PAD_GPIO_2__GPIO1_IO02 0x1b0b0
			>;
		};
	};
};

&ldb {
	status = "okay";

	lvds-channel@0 {
		fsl,data-mapping = "spwg";
		fsl,data-width = <18>;
		status = "okay";

		display-timings {
			native-mode = <&timing0>;
			
			timing0: 240x320M {
				clock-frequency = <5000000>;//for vsync 60 hz typical
				hactive = <240>;
				vactive = <320>;
				hback-porch = <4>;
				hfront-porch = <8>;
				vback-porch = <2>;
				vfront-porch = <4>;
				hsync-len = <2>;
				vsync-len = <2>;
			}; 
		}; 
	};
};

&mipi_csi {
	status = "okay";
	ipu_id = <0>;
	csi_id = <0>;
	v_channel = <0>;
	lanes = <1>;
};

/*
&pcie {
	pinctrl-names = "default";
	pinctrl-0 = <&pinctrl_pcie>;
	reset-gpio = <&gpio4 27 0>;
};
*/

&pwm3 {
	pinctrl-names = "default";
	pinctrl-0 = <&pinctrl_pwm3>;
	status = "okay";
};

&pwm4 {
	pinctrl-names = "default";
	pinctrl-0 = <&pinctrl_pwm4>;
	status = "okay";
};

&snvs_poweroff {
	status = "okay";
};

&ssi1 {
	status = "okay";
};

&ssi2 {
	status = "okay";
};

/* Debug UART */
&uart1 {
	pinctrl-names = "default";
	pinctrl-0 = <&pinctrl_uart1>;
	status = "okay";
};

/* RS232 port (MCU for Pollux4) */
&uart2 {
	status = "okay";
	pinctrl-names = "default";
	pinctrl-0 = <&pinctrl_uart2>;
	fsl,uart-has-rtscts;
};

/* esomimx6 : bluetooth */
&uart3 {
	pinctrl-names = "default";
	pinctrl-0 = <&pinctrl_uart3>;
	fsl,uart-has-rtscts;
	status = "okay";
};

/* pollux4 :RFID */
&uart4 {
	pinctrl-names = "default";
	pinctrl-0 = <&pinctrl_uart4>;
	status = "okay";
};


#if 0
&usbh1 {
	vbus-supply = <&reg_usb_h1_vbus>;
	status = "disabled";
};
#endif
&usbotg {
	vbus-supply = <&reg_usb_otg_vbus>;
	pinctrl-names = "default";
	pinctrl-0 = <&pinctrl_usbotg>;
	disable-over-current;
	srp-disable;
	hnp-disable;
	adp-disable;
	status = "okay";
};

&usbphy1 {
	tx-d-cal = <0x5>;
};

&usbphy2 {
	tx-d-cal = <0x5>;
};

/* eMMC */
&usdhc1 {
	pinctrl-names = "default";
	pinctrl-0 = <&pinctrl_usdhc1>;
	bus-width = <8>;
	non-removable;
	no-1-8-v;
	keep-power-in-suspend;
	status = "okay";
};

&usdhc2 {
	pinctrl-names = "default";
	pinctrl-0 = <&pinctrl_usdhc2>;
	cd-gpios = <&gpio4 25 1>;
	no-1-8-v;
	keep-power-in-suspend;
	enable-sdio-wakeup;
	status = "okay";
};

/* uSDHC1, TiWi wl1271 */
&usdhc3 {
	pinctrl-names = "default";
	pinctrl-0 = <&pinctrl_usdhc3>;
	bus-width = <4>;
	non-removable;
	vmmc-supply = <&wilink_wl_en>;
	ocr-limit = <0x80>;     /* 1.65v - 1.95v */
	/*cap-power-off-card;*/
	keep-power-in-suspend;
	status = "okay";
	#address-cells = <1>;
	#size-cells = <0>;
	wlcore: wlcore@2 {
		compatible = "ti,wilink8";
		reg = <2>;
		interrupt-parent = <&gpio1>;
		interrupts = <7 IRQ_TYPE_LEVEL_HIGH>;
		ref-clock-frequency = <38400000>;
	};

};

&se2100_mipi {
	vc = <0>;
};

&wdog1 {
       pinctrl-names = "default";
       pinctrl-0 = <&pinctrl_wdog1>;
        status = "disabled";
};

&wdog2 {
	status = "okay";
};
